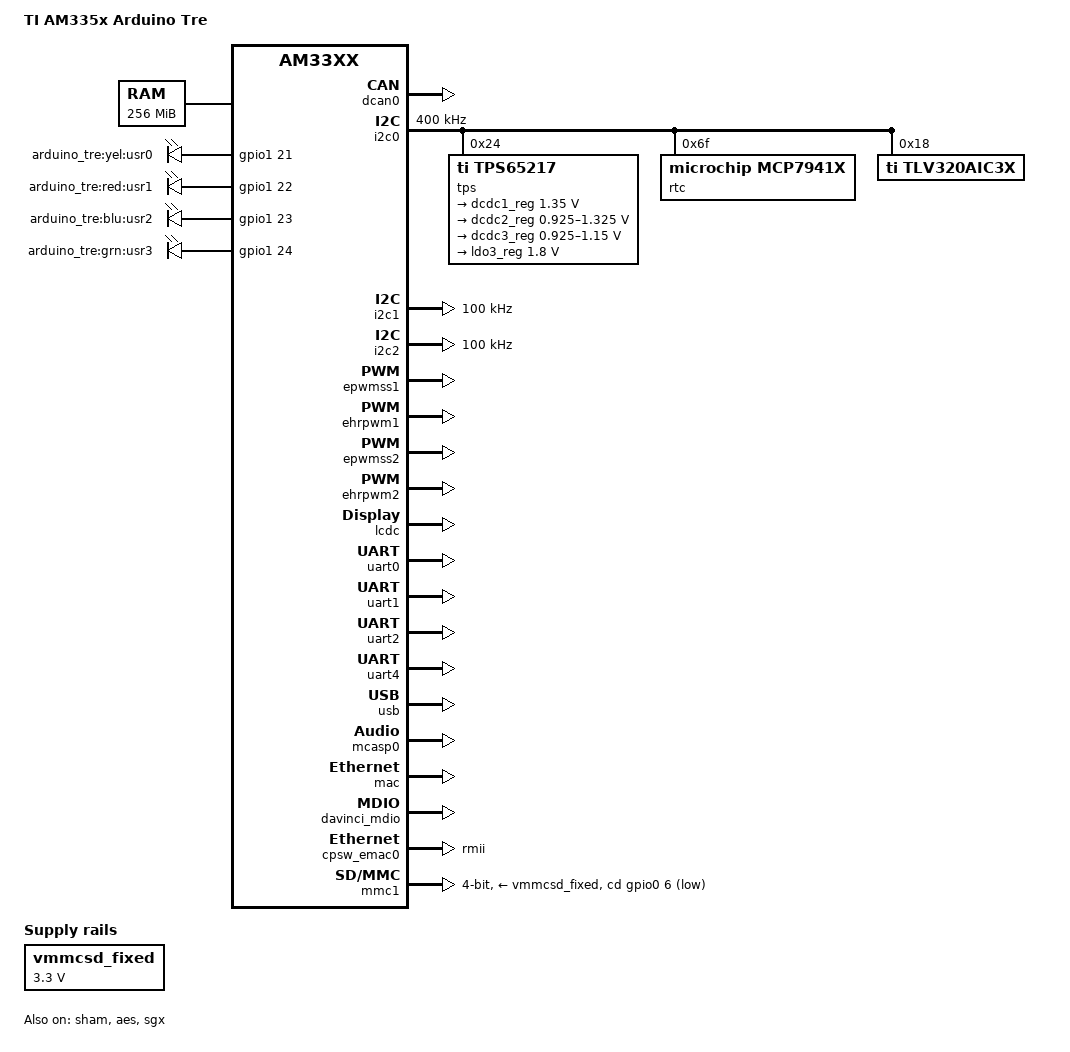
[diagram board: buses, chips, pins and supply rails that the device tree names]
/*
 * Copyright (C) 2012 Texas Instruments Incorporated - http://www.ti.com/
 *
 * This program is free software; you can redistribute it and/or modify
 * it under the terms of the GNU General Public License version 2 as
 * published by the Free Software Foundation.
 */
/dts-v1/;

#include "am33xx.dtsi"

/ {
	model = "TI AM335x Arduino Tre";
	compatible = "ti,am335x-arduino-tre", "ti,am335x-boneblack", "ti,am335x-bone", "ti,am33xx";

	cpus {
		cpu@0 {
			cpu0-supply = <&dcdc2_reg>;
		};
	};

	memory {
		device_type = "memory";
		reg = <0x80000000 0x10000000>; /* 512 MB */
	};

	leds {
		pinctrl-names = "default";
		pinctrl-0 = <&userled_pins>;

		compatible = "gpio-leds";

		led@0 {
			label = "arduino_tre:yel:usr0";
			gpios = <&gpio1 21 0>;
			linux,default-trigger = "mmc0";
			default-state = "off";
		};

		led@1 {
			label = "arduino_tre:red:usr1";
			gpios = <&gpio1 22 0>;
			linux,default-trigger = "none";
			default-state = "off";
		};

		led@2 {
			label = "arduino_tre:blu:usr2";
			gpios = <&gpio1 23 0>;
			linux,default-trigger = "none";
			default-state = "off";
		};

		led@3 {
			label = "arduino_tre:grn:usr3";
			gpios = <&gpio1 24 0>;
			linux,default-trigger = "cpu0";
			default-state = "off";
		};
	};

	hdmi {
		compatible = "ti,tilcdc,slave";
		i2c = <&i2c0>;
		pinctrl-names = "default", "off";
		pinctrl-0 = <&nxp_hdmi_bonelt_pins>;
		pinctrl-1 = <&nxp_hdmi_bonelt_off_pins>;
		status = "okay";
	};

	sound {
		compatible = "ti,da830-evm-audio";
		ti,model = "DA830 EVM";
		ti,audio-codec = <&tlv320aic3x>;
		ti,mcasp-controller = <&mcasp0>;
		ti,codec-clock-rate = <12000000>;
		ti,audio-routing =
			"Headphone Jack",       "HPLOUT",
			"Headphone Jack",       "HPROUT",
			"LINE2L",               "Line In",
			"LINE2R",               "Line In";
	};

	vmmcsd_fixed: fixedregulator@0 {
		compatible = "regulator-fixed";
		regulator-name = "vmmcsd_fixed";
		regulator-min-microvolt = <3300000>;
		regulator-max-microvolt = <3300000>;
	};
};

&cpu0_opp_table {
	/*
	 * All PG 2.0 silicon may not support 1GHz but some of the early
	 * BeagleBone Blacks have PG 2.0 silicon which is guaranteed
	 * to support 1GHz OPP so enable it for PG 2.0 on this board.
	 */
	oppnitro@1000000000 {
		opp-supported-hw = <0x06 0x0100>;
	};
};

&am33xx_pinmux {
	pinctrl-names = "default";
	pinctrl-0 = <&userled_pins>;

	userled_pins: pinmux_userled_pins {
		pinctrl-single,pins = <
			0x54 0x7        /* gpmc_a5.gpio1_21, OUTPUT	  | MODE7 */
			0x58 0x17       /* gpmc_a6.gpio1_22, OUTPUT_PULLUP | MODE7 */
			0x5c 0x7        /* gpmc_a7.gpio1_23, OUTPUT	  | MODE7 */
			0x60 0x17       /* gpmc_a8.gpio1_24, OUTPUT_PULLUP | MODE7 */
		>;
	};

	can_bus_pins: pinmux_can_bus_pins {
		pinctrl-single,pins = <
			0x120 0x31	/* DCAN0_RX	MODE1 */
			0x11c 0x01	/* DCAN0_TX	MODE1 */
		>;
	};

	cpsw_default: cpsw_default {
		pinctrl-single,pins = <
			/* Slave 1 */
			0x110 (PIN_INPUT_PULLUP | MUX_MODE0)	/* mii1_rxerr.mii1_rxerr */
			0x114 (PIN_OUTPUT_PULLDOWN | MUX_MODE0)	/* mii1_txen.mii1_txen */
			0x118 (PIN_INPUT_PULLUP | MUX_MODE0)	/* mii1_rxdv.mii1_rxdv */
			0x11c (PIN_OUTPUT_PULLDOWN | MUX_MODE0)	/* mii1_txd3.mii1_txd3 */
			0x120 (PIN_OUTPUT_PULLDOWN | MUX_MODE0)	/* mii1_txd2.mii1_txd2 */
			0x124 (PIN_OUTPUT_PULLDOWN | MUX_MODE0)	/* mii1_txd1.mii1_txd1 */
			0x128 (PIN_OUTPUT_PULLDOWN | MUX_MODE0)	/* mii1_txd0.mii1_txd0 */
			0x12c (PIN_INPUT_PULLUP | MUX_MODE0)	/* mii1_txclk.mii1_txclk */
			0x130 (PIN_INPUT_PULLUP | MUX_MODE0)	/* mii1_rxclk.mii1_rxclk */
			0x134 (PIN_INPUT_PULLUP | MUX_MODE0)	/* mii1_rxd3.mii1_rxd3 */
			0x138 (PIN_INPUT_PULLUP | MUX_MODE0)	/* mii1_rxd2.mii1_rxd2 */
			0x13c (PIN_INPUT_PULLUP | MUX_MODE0)	/* mii1_rxd1.mii1_rxd1 */
			0x140 (PIN_INPUT_PULLUP | MUX_MODE0)	/* mii1_rxd0.mii1_rxd0 */
		>;
	};

	cpsw_sleep: cpsw_sleep {
		pinctrl-single,pins = <
			/* Slave 1 reset value */
			0x110 (PIN_INPUT_PULLDOWN | MUX_MODE7)
			0x114 (PIN_INPUT_PULLDOWN | MUX_MODE7)
			0x118 (PIN_INPUT_PULLDOWN | MUX_MODE7)
			0x11c (PIN_INPUT_PULLDOWN | MUX_MODE7)
			0x120 (PIN_INPUT_PULLDOWN | MUX_MODE7)
			0x124 (PIN_INPUT_PULLDOWN | MUX_MODE7)
			0x128 (PIN_INPUT_PULLDOWN | MUX_MODE7)
			0x12c (PIN_INPUT_PULLDOWN | MUX_MODE7)
			0x130 (PIN_INPUT_PULLDOWN | MUX_MODE7)
			0x134 (PIN_INPUT_PULLDOWN | MUX_MODE7)
			0x138 (PIN_INPUT_PULLDOWN | MUX_MODE7)
			0x13c (PIN_INPUT_PULLDOWN | MUX_MODE7)
			0x140 (PIN_INPUT_PULLDOWN | MUX_MODE7)
		>;
	};

	emac_rmii1_pins: pinmux_emac_rmii1_pins {
		pinctrl-single,pins = <
			0x10c (PIN_INPUT_PULLDOWN | MUX_MODE1)	/* mii1_crs.rmii1_crs_dv */
			0x110 (PIN_INPUT_PULLDOWN | MUX_MODE1)	/* mii1_rxerr.rmii1_rxerr */
			0x114 (PIN_OUTPUT | MUX_MODE1)		/* mii1_txen.rmii1_txen */
			0x124 (PIN_OUTPUT | MUX_MODE1)		/* mii1_txd1.rmii1_txd1 */
			0x128 (PIN_OUTPUT | MUX_MODE1)		/* mii1_txd0.rmii1_txd0 */
			0x13c (PIN_INPUT_PULLDOWN | MUX_MODE1)	/* mii1_rxd1.rmii1_rxd1 */
			0x140 (PIN_INPUT_PULLDOWN | MUX_MODE1)	/* mii1_rxd0.rmii1_rxd0 */
			0x144 (PIN_INPUT_PULLDOWN | MUX_MODE0)	/* rmii1_refclk.rmii1_refclk */
		>;
	};

	davinci_mdio_default: davinci_mdio_default {
		pinctrl-single,pins = <
			/* MDIO */
			0x148 (PIN_INPUT_PULLUP | SLEWCTRL_FAST | MUX_MODE0)	/* mdio_data.mdio_data */
			0x14c (PIN_OUTPUT_PULLUP | MUX_MODE0)			/* mdio_clk.mdio_clk */
		>;
	};

	davinci_mdio_sleep: davinci_mdio_sleep {
		pinctrl-single,pins = <
			/* MDIO reset value */
			0x148 (PIN_INPUT_PULLDOWN | MUX_MODE7)
			0x14c (PIN_INPUT_PULLDOWN | MUX_MODE7)
		>;
	};

	i2c0_pins: pinmux_i2c0_pins {
		pinctrl-single,pins = <
			0x188 0x70      /* i2c0_sda, SLEWCTRL_SLOW | INPUT_PULLUP | MODE0 */
			0x18c 0x70      /* i2c0_scl, SLEWCTRL_SLOW | INPUT_PULLUP | MODE0 */
		>;
	};

	i2c1_pins: pinmux_i2c1_pins {
		pinctrl-single,pins = <
			0x158 0x72 	/*spi0_d1-i2c1_sda,SLEWCTRL_SLOW | INPUT_PULLUP | MODE2*/
			0x15c 0x72	/*spi0_cs0-i2c1_scl,SLEWCTRL_SLOW | INPUT_PULLUP |MODE2*/
		>;
	};

	i2c2_pins: pinmux_i2c2_pins {
		pinctrl-single,pins = <
			0x150 0x72 	/*spi0_scl.i2c2_sda,SLEWCTRL_SLOW | INPUT_PULLUP |MODE2*/
			0x154 0x72	/*spi0_d0.i2c2_scl,SLEWCTRL_SLOW | INPUT_PULLUP | MODE2*/
		>;
	};

	mmc1_pins_default: pinmux_mmc1_pins {
		pinctrl-single,pins = <
			0x0F0 (PIN_INPUT_PULLUP | MUX_MODE0)	/* mmc0_dat3.mmc0_dat3 */
			0x0F4 (PIN_INPUT_PULLUP | MUX_MODE0)	/* mmc0_dat2.mmc0_dat2 */
			0x0F8 (PIN_INPUT_PULLUP | MUX_MODE0)	/* mmc0_dat1.mmc0_dat1 */
			0x0FC (PIN_INPUT_PULLUP | MUX_MODE0)	/* mmc0_dat0.mmc0_dat0 */
			0x100 (PIN_INPUT_PULLUP | MUX_MODE0)	/* mmc0_clk.mmc0_clk */
			0x104 (PIN_INPUT_PULLUP | MUX_MODE0)	/* mmc0_cmd.mmc0_cmd */
			0x1A0 (PIN_INPUT_PULLUP | MUX_MODE7)	/* mcasp0_aclkr.gpio3_18 */
			0x160 (PIN_INPUT | MUX_MODE7)		/* spi0_cs1.gpio0_6 */
		>;
	};

	mmc1_pins_sleep: pinmux_mmc1_pins_sleep {
		pinctrl-single,pins = <
			0x0F0 (PIN_INPUT_PULLDOWN | MUX_MODE7)
			0x0F4 (PIN_INPUT_PULLDOWN | MUX_MODE7)
			0x0F8 (PIN_INPUT_PULLDOWN | MUX_MODE7)
			0x0FC (PIN_INPUT_PULLDOWN | MUX_MODE7)
			0x100 (PIN_INPUT_PULLDOWN | MUX_MODE7)
			0x104 (PIN_INPUT_PULLDOWN | MUX_MODE7)
			0x1A0 (PIN_INPUT_PULLDOWN | MUX_MODE7)
		>;
	};

	tre_ehrpwm1_pins: pinmux_tre_ehrpwm1_pins {
		pinctrl-single,pins = <
			0x48 0x06	/* PWM1A	~102	MODE6 */
			0x4c 0x06	/* PWM1B	~103	MODE6 */
		>;
	};

	tre_ehrpwm2_pins: pinmux_tre_ehrpwm2_pins {
		pinctrl-single,pins = <
			0x20 0x04	/* PWM2A	~100	MODE4 */
			0x24 0x04	/* PWM2B	~101	MODE4 */
		>;
	};

	nxp_hdmi_bonelt_pins: nxp_hdmi_bonelt_pins {
		pinctrl-single,pins = <
			0x1b0 0x03      /* xdma_event_intr0, OMAP_MUX_MODE3 | AM33XX_PIN_OUTPUT */
			0xa0 0x08       /* lcd_data0.lcd_data0, OMAP_MUX_MODE0 | AM33XX_PIN_OUTPUT | AM33XX_PULL_DISA */
			0xa4 0x08       /* lcd_data1.lcd_data1, OMAP_MUX_MODE0 | AM33XX_PIN_OUTPUT | AM33XX_PULL_DISA */
			0xa8 0x08       /* lcd_data2.lcd_data2, OMAP_MUX_MODE0 | AM33XX_PIN_OUTPUT | AM33XX_PULL_DISA */
			0xac 0x08       /* lcd_data3.lcd_data3, OMAP_MUX_MODE0 | AM33XX_PIN_OUTPUT | AM33XX_PULL_DISA */
			0xb0 0x08       /* lcd_data4.lcd_data4, OMAP_MUX_MODE0 | AM33XX_PIN_OUTPUT | AM33XX_PULL_DISA */
			0xb4 0x08       /* lcd_data5.lcd_data5, OMAP_MUX_MODE0 | AM33XX_PIN_OUTPUT | AM33XX_PULL_DISA */
			0xb8 0x08       /* lcd_data6.lcd_data6, OMAP_MUX_MODE0 | AM33XX_PIN_OUTPUT | AM33XX_PULL_DISA */
			0xbc 0x08       /* lcd_data7.lcd_data7, OMAP_MUX_MODE0 | AM33XX_PIN_OUTPUT | AM33XX_PULL_DISA */
			0xc0 0x08       /* lcd_data8.lcd_data8, OMAP_MUX_MODE0 | AM33XX_PIN_OUTPUT | AM33XX_PULL_DISA */
			0xc4 0x08       /* lcd_data9.lcd_data9, OMAP_MUX_MODE0 | AM33XX_PIN_OUTPUT | AM33XX_PULL_DISA */
			0xc8 0x08       /* lcd_data10.lcd_data10, OMAP_MUX_MODE0 | AM33XX_PIN_OUTPUT | AM33XX_PULL_DISA */
			0xcc 0x08       /* lcd_data11.lcd_data11, OMAP_MUX_MODE0 | AM33XX_PIN_OUTPUT | AM33XX_PULL_DISA */
			0xd0 0x08       /* lcd_data12.lcd_data12, OMAP_MUX_MODE0 | AM33XX_PIN_OUTPUT | AM33XX_PULL_DISA */
			0xd4 0x08       /* lcd_data13.lcd_data13, OMAP_MUX_MODE0 | AM33XX_PIN_OUTPUT | AM33XX_PULL_DISA */
			0xd8 0x08       /* lcd_data14.lcd_data14, OMAP_MUX_MODE0 | AM33XX_PIN_OUTPUT | AM33XX_PULL_DISA */
			0xdc 0x08       /* lcd_data15.lcd_data15, OMAP_MUX_MODE0 | AM33XX_PIN_OUTPUT | AM33XX_PULL_DISA */
			0xe0 0x00       /* lcd_vsync.lcd_vsync, OMAP_MUX_MODE0 | AM33XX_PIN_OUTPUT */
			0xe4 0x00       /* lcd_hsync.lcd_hsync, OMAP_MUX_MODE0 | AM33XX_PIN_OUTPUT */
			0xe8 0x00       /* lcd_pclk.lcd_pclk, OMAP_MUX_MODE0 | AM33XX_PIN_OUTPUT */
			0xec 0x00       /* lcd_ac_bias_en.lcd_ac_bias_en, OMAP_MUX_MODE0 | AM33XX_PIN_OUTPUT */
		>;
	};

	nxp_hdmi_bonelt_off_pins: nxp_hdmi_bonelt_off_pins {
		pinctrl-single,pins = <
			0x1b0 0x03      /* xdma_event_intr0, OMAP_MUX_MODE3 | AM33XX_PIN_OUTPUT */
		>;
	};

	tre_audio_pins: pinmux_tre_audio_pins {
		pinctrl-single,pins = <
			0x1ac 0x00	/*mcasp0_ahclkx       (AUD_MCLK)->12MHz, INPUT | MODE0*/
			0x190 0x20	/* mcasp0_aclkx        (AUD_BCLK)->, 	 INPUT | MODE0*/
			0x194 0x20	/* mcasp0_fsx          (AUD_FSX)-> , 	 INPUT | MODE0*/
			0x198 0x20	/* mcasp0_axr0         (AUD_DIN)<-, 	 INPUT | MODE0*/
			0x19c 0x22	/* mcasp0_ahclkr-_axr2 (AUD_DOUT)->, 	       | MODE2*/
		>;
	};

	spi1_pins: pinmux_spi1_pins {
		pinctrl-single,pins = <
			0x168 0x14 	/* MOSI1 OUTPUT_PULLUP | MODE0 */
			0x16c 0x34	/* MISO1 INPUT_PULLUP | MODE0 */
			0x108 0x12 	/* SCK1	 OUTPUT_PULLUP | MODE0 */
			0x164 0x12	/* SS1	 OUTPUT_PULLUP | MODE0 */
		>;
	};

	uart0_pins: pinmux_uart0_pins {
		pinctrl-single,pins = <
			0x170 (PIN_INPUT_PULLUP | MUX_MODE0)	/* uart0_rxd.uart0_rxd */
			0x174 (PIN_OUTPUT_PULLDOWN | MUX_MODE0)	/* uart0_txd.uart0_txd */
		>;
	};

	uart1_pins: pinmux_uart1_pins {
		pinctrl-single,pins = <
			0x180 0x30	/* UART1_rxd PULL_UP | MODE0 */
			0x184 0x00	/* UART1_txd 	MODE0 */
		>;
	};

	uart2_pins: pinmux_uart2_pins {
		pinctrl-single,pins = <
			0x12c 0x31	/* UART2_rxd PULL_UP | MODE1 */
			0x130 0x01	/* UART2_txd 	MODE1 */
		>;
	};

	uart4_pins: pinmux_uart4_pins {
		pinctrl-single,pins = <
			0x70 0x36	/* UART4_rxd PULL_UP | MODE6 */
			0x74 0x06	/* UART4_txd 	MODE6 */
		>;
	};
};

&dcan0 {
	status = "okay";
	pinctrl-names = "default";
	pinctrl-0 = <&can_bus_pins>;
};

&i2c0 {
	status = "okay";
	clock-frequency = <400000>;
	pinctrl-names = "default";
	pinctrl-0 = <&i2c0_pins>;

	tps: tps@24 {
		reg = <0x24>;
	};

	rtc@6f {
		compatible = "microchip,mcp7941x";
		reg = <0x6f>;
	};

	tlv320aic3x: tlv320aic3x@18 {
		compatible = "ti,tlv320aic3x";
		reg = <0x18>;
		status = "okay";
	};
};

&i2c1 {
	status = "okay";
	pinctrl-names = "default";
	pinctrl-0 = <&i2c1_pins>;

	clock-frequency = <100000>;
};

&i2c2 {
	status = "okay";
	pinctrl-names = "default";
	pinctrl-0 = <&i2c2_pins>;

	clock-frequency = <100000>;
};

&epwmss1 {
	status = "okay";
};

&ehrpwm1 {
	status = "okay";
	pinctrl-names = "default";
	pinctrl-0 = <&tre_ehrpwm1_pins>;
};

&epwmss2 {
	status = "okay";
};

&ehrpwm2 {
	status = "okay";
	pinctrl-names = "default";
	pinctrl-0 = <&tre_ehrpwm2_pins>;
};

&lcdc {
	status = "okay";
};

&uart0 {
	pinctrl-names = "default";
	pinctrl-0 = <&uart0_pins>;

	status = "okay";
};

&uart1 {
	pinctrl-names = "default";
	pinctrl-0 = <&uart1_pins>;

	status = "okay";
};

&uart2 {
	pinctrl-names = "default";
	pinctrl-0 = <&uart2_pins>;

	status = "okay";
};

&uart4 {
	pinctrl-names = "default";
	pinctrl-0 = <&uart4_pins>;

	status = "okay";
};

&usb {
	status = "okay";

	control@44e10620 {
		status = "okay";
	};

	usb-phy@47401300 {
		status = "okay";
	};

	usb-phy@47401b00 {
		status = "okay";
	};

	usb@47401000 {
		status = "okay";
		dr_mode = "peripheral";
	};

	usb@47401800 {
		status = "okay";
		dr_mode = "host";
	};

	dma-controller@47402000  {
		status = "okay";
	};
};

&tps {
	compatible = "ti,tps65217";
	ti,pmic-shutdown-controller;

	interrupt-parent = <&intc>;
	interrupts = <7>;	/* NNMI */

	regulators {
		#address-cells = <1>;
		#size-cells = <0>;

		dcdc1_reg: regulator@0 {
			reg = <0>;
			regulator-name = "vdd_ddr";
			regulator-min-microvolt = <1350000>;
			regulator-max-microvolt = <1350000>;
			regulator-boot-on;
			regulator-always-on;
		};

		dcdc2_reg: regulator@1 {
			reg = <1>;
			/* VDD_MPU voltage limits 0.95V - 1.26V with +/-4% tolerance */
			regulator-name = "vdd_mpu";
			regulator-min-microvolt = <925000>;
			regulator-max-microvolt = <1325000>;
			regulator-boot-on;
			regulator-always-on;
		};

		dcdc3_reg: regulator@2 {
			reg = <2>;
			/* VDD_CORE voltage limits 0.95V - 1.1V with +/-4% tolerance */
			regulator-name = "vdd_core";
			regulator-min-microvolt = <925000>;
			regulator-max-microvolt = <1150000>;
			regulator-boot-on;
			regulator-always-on;
		};

		ldo1_reg: regulator@3 {
			reg = <3>;
			regulator-always-on;
		};

		ldo2_reg: regulator@4 {
			reg = <4>;
			regulator-always-on;
		};

		ldo3_reg: regulator@5 {
			reg = <5>;
			regulator-min-microvolt = <1800000>;
			regulator-max-microvolt = <1800000>;
			regulator-always-on;
		};

		ldo4_reg: regulator@6 {
			reg = <6>;
			regulator-always-on;
		};

		rtc@44e3e000 {
			ti,system-power-controller;
		};
	};
};

&mcasp0 {
	pinctrl-names = "default";
	pinctrl-0 = <&tre_audio_pins>;

	status = "okay";

	op-mode = <0>;          /* MCASP_IIS_MODE */
	tdm-slots = <2>;
	num-serializer = <16>;
	serial-dir = <  /* 0: INACTIVE, 1: TX, 2: RX */
		2 0 1 0
		0 0 0 0
		0 0 0 0
		0 0 0 0
	>;
	tx-num-evt = <1>;
	rx-num-evt = <1>;
};

&mac {
	slaves = <1>;
	pinctrl-names = "default";
	pinctrl-0 = <&emac_rmii1_pins>;
	status = "okay";
};

&davinci_mdio {
	pinctrl-names = "default", "sleep";
	pinctrl-0 = <&davinci_mdio_default>;
	pinctrl-1 = <&davinci_mdio_sleep>;
	status = "okay";
};

&cpsw_emac0 {
	phy_id = <&davinci_mdio>, <0>;
	phy-mode = "rmii";
};

&phy_sel {
	rmii-clock-ext;
};

&mmc1 {
	status = "okay";
	bus-width = <0x4>;
	pinctrl-names = "default", "sleep";
	pinctrl-0 = <&mmc1_pins_default>;
	pinctrl-1 = <&mmc1_pins_sleep>;
	cd-gpios = <&gpio0 6 GPIO_ACTIVE_HIGH>;
	cd-inverted;
	vmmc-supply = <&vmmcsd_fixed>;
};

&rtc {
	system-power-controller;
};

&sham {
	status = "okay";
};

&aes {
	status = "okay";
};

&sgx {
	status = "okay";
};
